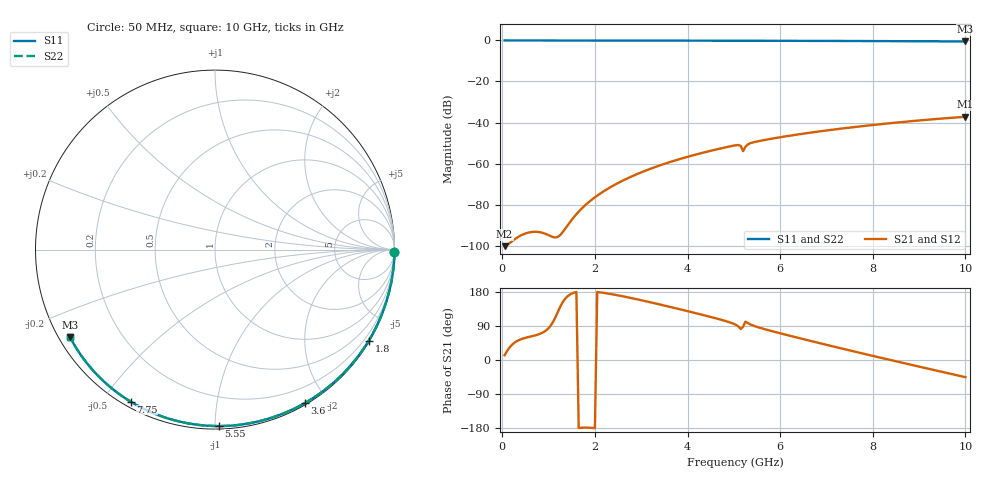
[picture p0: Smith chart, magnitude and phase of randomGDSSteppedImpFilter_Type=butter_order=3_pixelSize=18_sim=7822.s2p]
! freq	dB(S11)	phase(S11)	dB(S12)	phase(S12)
!  dB(S21)	phase(S21)	dB(S22)	phase(S22)
!S-par simulation data
#  GHz  S  DB  R 50
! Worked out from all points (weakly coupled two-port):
!   200 points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, 50 MHz to 10 GHz, reference 50 ohm
!   highest |S21| = -37.21 dB at 10 GHz (marker M1); lowest = -100.3 dB at 50 MHz (marker M2)
!   lowest |S11| = -0.5 dB at 10 GHz (marker M3), VSWR 34.68, Z = 1.55 - j14 ohm
!   |S11| at or under -10 dB: nowhere
!   |S22| runs from -0.5 to 0.0 dB; largest |S21 - S12| = 0
!   S11 on the Smith chart (normalised r, x): 50 MHz: open; 1.8 GHz: 0.03, -3.66; 3.6 GHz: 0.02, -1.75; 5.55 GHz: 0.02, -1.02; 7.75 GHz: 0.02, -0.59; 10 GHz: 0.03, -0.28
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0.05  -0.00 -0.9  -100.26 12.6  -100.26 12.6  -0.00 -0.9
0.85  -0.02 -14.6  -93.65 70.9  -93.65 70.9  -0.02 -14.6
1.75  -0.04 -29.7  -81.15 -178.4  -81.15 -178.4  -0.04 -29.7
1.8  -0.04 -30.6  -80.11 -178.4  -80.11 -178.4  -0.04 -30.6
2.15  -0.05 -36.4  -74.09 177.9  -74.09 177.9  -0.05 -36.4
2.5  -0.05 -42.1  -69.47 170.6  -69.47 170.6  -0.05 -42.1
2.9  -0.06 -48.6  -65.22 160.5  -65.22 160.5  -0.06 -48.5
3.4  -0.07 -56.5  -60.91 146.6  -60.91 146.6  -0.07 -56.5
3.6  -0.08 -59.6  -59.41 140.8  -59.41 140.8  -0.08 -59.6
4.3  -0.10 -70.4  -54.89 119.8  -54.89 119.8  -0.10 -70.4
5.05  -0.12 -81.5  -51.05 92.4  -51.05 92.4  -0.12 -81.5
5.1  -0.12 -82.2  -50.96 88.3  -50.96 88.3  -0.13 -82.2
5.15  -0.13 -83.0  -51.42 81.9  -51.42 81.9  -0.13 -83.0
5.2  -0.13 -83.7  -53.95 87.8  -53.95 87.8  -0.13 -83.7
5.25  -0.13 -84.4  -51.81 101.3  -51.81 101.3  -0.13 -84.4
5.3  -0.13 -85.1  -50.72 97.7  -50.72 97.7  -0.13 -85.1
5.55  -0.15 -88.7  -49.00 85.4  -49.00 85.4  -0.15 -88.7
6.7  -0.20 -104.8  -44.78 49.0  -44.78 49.0  -0.20 -104.8
7.75  -0.27 -119.0  -41.82 18.0  -41.82 18.0  -0.27 -119.0
8.35  -0.32 -127.0  -40.38 0.9  -40.38 0.9  -0.32 -127.0
9.2  -0.41 -138.2  -38.60 -23.1  -38.60 -23.1  -0.41 -138.2
10  -0.50 -148.8  -37.21 -45.3  -37.21 -45.3  -0.50 -148.8
